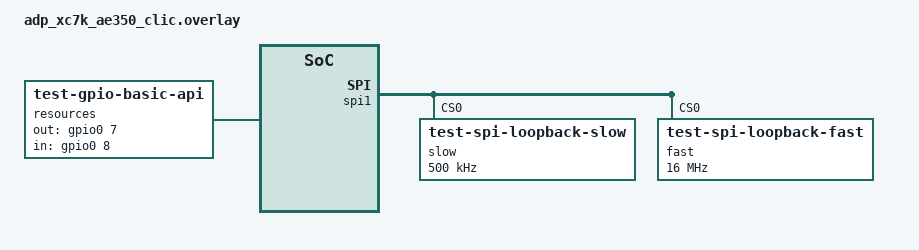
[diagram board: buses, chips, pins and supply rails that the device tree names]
/*
 * Copyright (c) 2025 Andes Technology Corporation.
 *
 * SPDX-License-Identifier: Apache-2.0
 */

tst_dma0: &dma0 {
	status = "okay";
};

&spi1 {
	slow@0 {
		compatible = "test-spi-loopback-slow";
		reg = <0>;
		spi-max-frequency = <500000>;
	};
	fast@0 {
		compatible = "test-spi-loopback-fast";
		reg = <0>;
		spi-max-frequency = <16000000>;
	};
};

/ {
	resources {
		compatible = "test-gpio-basic-api";
		status = "okay";
		out-gpios = <&gpio0 7 GPIO_ACTIVE_HIGH>;
		in-gpios = <&gpio0 8 GPIO_ACTIVE_HIGH>;
	};
};
